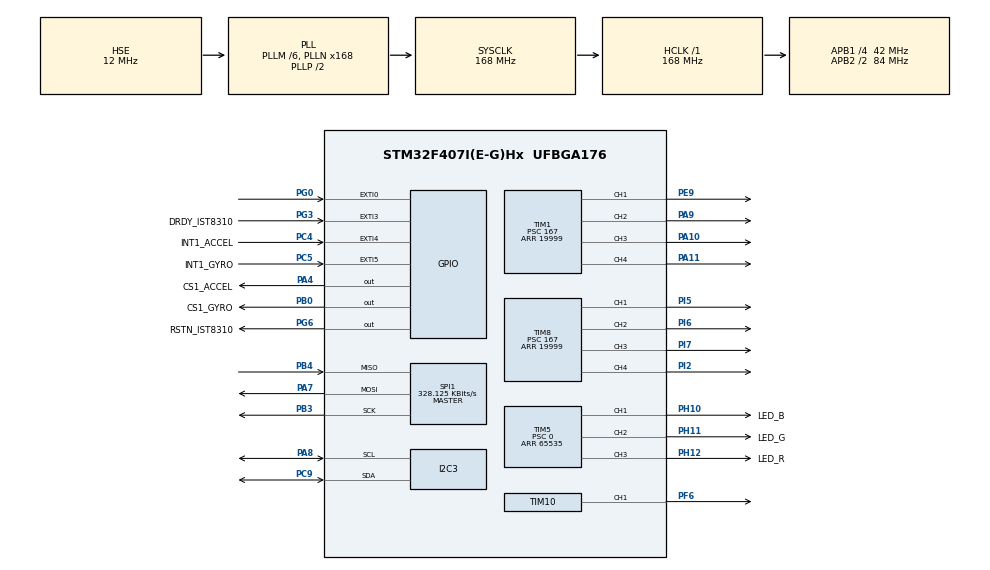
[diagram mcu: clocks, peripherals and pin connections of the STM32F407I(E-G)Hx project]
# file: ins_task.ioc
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Dma.Request0=SPI1_RX
Dma.Request1=SPI1_TX
Dma.SPI1_RX.0.Direction=DMA_PERIPH_TO_MEMORY
Dma.SPI1_RX.0.FIFOMode=DMA_FIFOMODE_DISABLE
Dma.SPI1_RX.0.Instance=DMA2_Stream2
Dma.SPI1_RX.0.MemDataAlignment=DMA_MDATAALIGN_BYTE
Dma.SPI1_RX.0.MemInc=DMA_MINC_ENABLE
Dma.SPI1_RX.0.Mode=DMA_NORMAL
Dma.SPI1_RX.0.PeriphDataAlignment=DMA_PDATAALIGN_BYTE
Dma.SPI1_RX.0.PeriphInc=DMA_PINC_DISABLE
Dma.SPI1_RX.0.Priority=DMA_PRIORITY_VERY_HIGH
Dma.SPI1_TX.1.Direction=DMA_MEMORY_TO_PERIPH
Dma.SPI1_TX.1.FIFOMode=DMA_FIFOMODE_DISABLE
Dma.SPI1_TX.1.Instance=DMA2_Stream3
Dma.SPI1_TX.1.MemDataAlignment=DMA_MDATAALIGN_BYTE
Dma.SPI1_TX.1.MemInc=DMA_MINC_ENABLE
Dma.SPI1_TX.1.Mode=DMA_NORMAL
Dma.SPI1_TX.1.PeriphDataAlignment=DMA_PDATAALIGN_BYTE
Dma.SPI1_TX.1.PeriphInc=DMA_PINC_DISABLE
Dma.SPI1_TX.1.Priority=DMA_PRIORITY_HIGH
FREERTOS.INCLUDE_eTaskGetState=1
FREERTOS.INCLUDE_pcTaskGetTaskName=1
FREERTOS.INCLUDE_uxTaskGetStackHighWaterMark=1
FREERTOS.INCLUDE_vTaskCleanUpResources=1
FREERTOS.INCLUDE_vTaskDelayUntil=1
FREERTOS.INCLUDE_xEventGroupSetBitFromISR=1
FREERTOS.INCLUDE_xQueueGetMutexHolder=1
FREERTOS.INCLUDE_xSemaphoreGetMutexHolder=1
FREERTOS.INCLUDE_xTaskAbortDelay=1
FREERTOS.INCLUDE_xTaskGetCurrentTaskHandle=1
FREERTOS.INCLUDE_xTaskGetHandle=1
FREERTOS.INCLUDE_xTimerPendFunctionCall=1
FREERTOS.Tasks01=test,0,128,test_task,As weak,NULL,Dynamic,NULL,NULL;serve_task,-3,128,serve_task_,As weak,NULL,Dynamic,NULL,NULL
FREERTOS.configTOTAL_HEAP_SIZE=24576
I2C3.I2C_Mode=I2C_Fast
Mcu.Family=STM32F4
Mcu.Name=STM32F407I(E-G)Hx
Mcu.Package=UFBGA176
NVIC.DMA2_Stream2_IRQn=true\:5\:0\:true\:false\:false\:true\:false\:true\:true
NVIC.DMA2_Stream3_IRQn=true\:5\:0\:true\:false\:false\:true\:false\:true\:true
NVIC.EXTI0_IRQn=true\:6\:0\:true\:false\:true\:true\:true\:true\:true
NVIC.EXTI3_IRQn=true\:5\:0\:true\:false\:true\:true\:true\:true\:true
NVIC.EXTI4_IRQn=true\:5\:0\:true\:false\:true\:true\:true\:true\:true
NVIC.EXTI9_5_IRQn=true\:5\:0\:true\:false\:true\:true\:true\:true\:true
NVIC.PriorityGroup=NVIC_PRIORITYGROUP_4
PA10.Signal=S_TIM1_CH3
PA11.Signal=S_TIM1_CH4
PA13.Mode=Serial_Wire
PA13.Signal=SYS_JTMS-SWDIO
PA14.Mode=Serial_Wire
PA14.Signal=SYS_JTCK-SWCLK
PA4.GPIO_Label=CS1_ACCEL
PA4.GPIO_PuPd=GPIO_PULLUP
PA4.GPIO_Speed=GPIO_SPEED_FREQ_HIGH
PA4.PinState=GPIO_PIN_SET
PA4.Signal=GPIO_Output
PA7.GPIO_PuPd=GPIO_PULLUP
PA7.Mode=Full_Duplex_Master
PA7.Signal=SPI1_MOSI
PA8.Mode=I2C
PA8.Signal=I2C3_SCL
PA9.Signal=S_TIM1_CH2
PB0.GPIO_Label=CS1_GYRO
PB0.GPIO_PuPd=GPIO_PULLUP
PB0.GPIO_Speed=GPIO_SPEED_FREQ_HIGH
PB0.PinState=GPIO_PIN_SET
PB0.Signal=GPIO_Output
PB3.GPIO_PuPd=GPIO_PULLUP
PB3.Mode=Full_Duplex_Master
PB3.Signal=SPI1_SCK
PB4.GPIO_PuPd=GPIO_PULLUP
PB4.Mode=Full_Duplex_Master
PB4.Signal=SPI1_MISO
PC4.GPIO_Label=INT1_ACCEL
PC4.GPIO_ModeDefaultEXTI=GPIO_MODE_IT_FALLING
PC4.GPIO_PuPd=GPIO_PULLUP
PC4.Signal=GPXTI4
PC5.GPIO_Label=INT1_GYRO
PC5.GPIO_ModeDefaultEXTI=GPIO_MODE_IT_FALLING
PC5.GPIO_PuPd=GPIO_PULLUP
PC5.Signal=GPXTI5
PC9.Mode=I2C
PC9.Signal=I2C3_SDA
PE9.Signal=S_TIM1_CH1
PF6.GPIO_PuPd=GPIO_PULLUP
PF6.GPIO_Speed=GPIO_SPEED_FREQ_HIGH
PF6.Signal=S_TIM10_CH1
PG0.GPIO_ModeDefaultEXTI=GPIO_MODE_IT_FALLING
PG0.GPIO_PuPd=GPIO_PULLUP
PG0.Signal=GPXTI0
PG3.GPIO_Label=DRDY_IST8310
PG3.GPIO_ModeDefaultEXTI=GPIO_MODE_IT_FALLING
PG3.GPIO_PuPd=GPIO_PULLUP
PG3.Signal=GPXTI3
PG6.GPIO_Label=RSTN_IST8310
PG6.GPIO_PuPd=GPIO_PULLUP
PG6.GPIO_Speed=GPIO_SPEED_FREQ_MEDIUM
PG6.PinState=GPIO_PIN_SET
PG6.Signal=GPIO_Output
PH0-OSC_IN.Mode=HSE-External-Oscillator
PH0-OSC_IN.Signal=RCC_OSC_IN
PH1-OSC_OUT.Mode=HSE-External-Oscillator
PH1-OSC_OUT.Signal=RCC_OSC_OUT
PH10.GPIO_Label=LED_B
PH10.GPIO_PuPd=GPIO_PULLUP
PH10.GPIO_Speed=GPIO_SPEED_FREQ_HIGH
PH10.Signal=S_TIM5_CH1
PH11.GPIO_Label=LED_G
PH11.GPIO_PuPd=GPIO_PULLUP
PH11.GPIO_Speed=GPIO_SPEED_FREQ_HIGH
PH11.Signal=S_TIM5_CH2
PH12.GPIO_Label=LED_R
PH12.GPIO_PuPd=GPIO_PULLUP
PH12.GPIO_Speed=GPIO_SPEED_FREQ_HIGH
PH12.Signal=S_TIM5_CH3
PI2.Signal=S_TIM8_CH4
PI5.Signal=S_TIM8_CH1
PI6.Signal=S_TIM8_CH2
PI7.Signal=S_TIM8_CH3
ProjectManager.HeapSize=0x2000
ProjectManager.StackSize=0x2000
ProjectManager.TargetToolchain=MDK-ARM V5
RCC.48MHZClocksFreq_Value=48000000
RCC.AHBFreq_Value=168000000
RCC.APB1CLKDivider=RCC_HCLK_DIV4
RCC.APB1Freq_Value=42000000
RCC.APB1TimFreq_Value=84000000
RCC.APB2CLKDivider=RCC_HCLK_DIV2
RCC.APB2Freq_Value=84000000
RCC.APB2TimFreq_Value=168000000
RCC.CortexFreq_Value=168000000
RCC.HCLKFreq_Value=168000000
RCC.HSE_VALUE=12000000
RCC.HSI_VALUE=16000000
RCC.LSE_VALUE=32768
RCC.PLLM=6
RCC.PLLN=168
RCC.PLLQ=7
RCC.PLLSourceVirtual=RCC_PLLSOURCE_HSE
RCC.RCC_RTC_Clock_SourceVirtual=RCC_RTCCLKSOURCE_HSE_DIV30
RCC.RCC_RTC_Clock_Source_FROM_HSE=RCC_RTCCLKSOURCE_HSE_DIV30
RCC.SYSCLKFreq_VALUE=168000000
RCC.SYSCLKSource=RCC_SYSCLKSOURCE_PLLCLK
RCC.VCOOutputFreq_Value=336000000
SH.S_TIM10_CH1.0=TIM10_CH1,PWM Generation1 CH1
SH.S_TIM1_CH1.0=TIM1_CH1,Output Compare1 CH1
SH.S_TIM1_CH2.0=TIM1_CH2,Output Compare2 CH2
SH.S_TIM1_CH3.0=TIM1_CH3,Output Compare3 CH3
SH.S_TIM1_CH4.0=TIM1_CH4,Output Compare4 CH4
SH.S_TIM5_CH1.0=TIM5_CH1,PWM Generation1 CH1
SH.S_TIM5_CH2.0=TIM5_CH2,PWM Generation2 CH2
SH.S_TIM5_CH3.0=TIM5_CH3,PWM Generation3 CH3
SH.S_TIM8_CH1.0=TIM8_CH1,Output Compare1 CH1
SH.S_TIM8_CH2.0=TIM8_CH2,Output Compare2 CH2
SH.S_TIM8_CH3.0=TIM8_CH3,Output Compare3 CH3
SH.S_TIM8_CH4.0=TIM8_CH4,Output Compare4 CH4
SPI1.BaudRatePrescaler=SPI_BAUDRATEPRESCALER_256
SPI1.CLKPhase=SPI_PHASE_2EDGE
SPI1.CLKPolarity=SPI_POLARITY_HIGH
SPI1.CalculateBaudRate=328.125 KBits/s
SPI1.Direction=SPI_DIRECTION_2LINES
SPI1.Mode=SPI_MODE_MASTER
SPI1.VirtualType=VM_MASTER
TIM1.Channel-Output\ Compare1\ CH1=TIM_CHANNEL_1
TIM1.Channel-Output\ Compare2\ CH2=TIM_CHANNEL_2
TIM1.Channel-Output\ Compare3\ CH3=TIM_CHANNEL_3
TIM1.Channel-Output\ Compare4\ CH4=TIM_CHANNEL_4
TIM1.Period=19999
TIM1.Prescaler=167
TIM1.Pulse-Output\ Compare1\ CH1=2000
TIM1.Pulse-Output\ Compare2\ CH2=2000
TIM1.Pulse-Output\ Compare3\ CH3=2000
TIM1.Pulse-Output\ Compare4\ CH4=2000
TIM10.Channel=TIM_CHANNEL_1
TIM10.Period=4999
TIM5.Channel-PWM\ Generation1\ CH1=TIM_CHANNEL_1
TIM5.Channel-PWM\ Generation2\ CH2=TIM_CHANNEL_2
TIM5.Channel-PWM\ Generation3\ CH3=TIM_CHANNEL_3
TIM5.Period=65535
TIM5.Prescaler=0
TIM8.Channel-Output\ Compare1\ CH1=TIM_CHANNEL_1
TIM8.Channel-Output\ Compare2\ CH2=TIM_CHANNEL_2
TIM8.Channel-Output\ Compare3\ CH3=TIM_CHANNEL_3
TIM8.Channel-Output\ Compare4\ CH4=TIM_CHANNEL_4
TIM8.Period=19999
TIM8.Prescaler=167
TIM8.Pulse-Output\ Compare1\ CH1=2000
TIM8.Pulse-Output\ Compare2\ CH2=2000
TIM8.Pulse-Output\ Compare3\ CH3=2000
TIM8.Pulse-Output\ Compare4\ CH4=2000
VP_FREERTOS_VS_CMSIS_V1.Mode=CMSIS_V1
VP_TIM10_VS_ClockSourceINT.Mode=Enable_Timer
VP_TIM5_VS_ClockSourceINT.Mode=Internal
board=custom

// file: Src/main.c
/* USER CODE BEGIN Header */
/**
  ******************************************************************************
  * @file           : main.c
  * @brief          : Main program body
  ******************************************************************************
  * @attention
  *
  * <h2><center>&copy; Copyright (c) 2019 STMicroelectronics.
  * All rights reserved.</center></h2>
  *
  * This software component is licensed by ST under Ultimate Liberty license
  * SLA0044, the "License"; You may not use this file except in compliance with
  * the License. You may obtain a copy of the License at:
  *                             www.st.com/SLA0044
  *
  ******************************************************************************
  */
/* USER CODE END Header */

#include "main.h"
#include "cmsis_os.h"
#include "dma.h"
#include "i2c.h"
#include "spi.h"
#include "tim.h"
#include "gpio.h"

/* USER CODE BEGIN Includes */
#include "bsp_delay.h"
/* USER CODE END Includes */

void SystemClock_Config(void);
void MX_FREERTOS_Init(void);

int main(void)
{

  /* MCU Configuration--------------------------------------------------------*/

  /* Reset of all peripherals, Initializes the Flash interface and the Systick. */
  HAL_Init();

  /* Configure the system clock */
  SystemClock_Config();

  /* Initialize all configured peripherals */
  MX_GPIO_Init();
  MX_DMA_Init();
  MX_SPI1_Init();
  MX_TIM5_Init();
  MX_I2C3_Init();
  MX_TIM10_Init();
  MX_TIM1_Init();
  MX_TIM8_Init();
  /* USER CODE BEGIN 2 */
    delay_init();
		    HAL_TIM_Base_Start(&htim1);
    HAL_TIM_PWM_Start(&htim1, TIM_CHANNEL_1);
    HAL_TIM_PWM_Start(&htim1, TIM_CHANNEL_2);
    HAL_TIM_PWM_Start(&htim1, TIM_CHANNEL_3);
    HAL_TIM_PWM_Start(&htim1, TIM_CHANNEL_1);
    HAL_TIM_Base_Start(&htim8);
    HAL_TIM_PWM_Start(&htim8, TIM_CHANNEL_1);
    HAL_TIM_PWM_Start(&htim8, TIM_CHANNEL_2);
    HAL_TIM_PWM_Start(&htim8, TIM_CHANNEL_3);
  /* USER CODE END 2 */

  /* Call init function for freertos objects (in freertos.c) */
  MX_FREERTOS_Init();

  /* Start scheduler */
  osKernelStart();

  /* We should never get here as control is now taken by the scheduler */

  /* Infinite loop */
  while (1)
  {

  }
}

void SystemClock_Config(void)
{
  RCC_OscInitTypeDef RCC_OscInitStruct = {0};
  RCC_ClkInitTypeDef RCC_ClkInitStruct = {0};

  /** Configure the main internal regulator output voltage
  */
  __HAL_RCC_PWR_CLK_ENABLE();
  __HAL_PWR_VOLTAGESCALING_CONFIG(PWR_REGULATOR_VOLTAGE_SCALE1);
  /** Initializes the CPU, AHB and APB busses clocks
  */
  RCC_OscInitStruct.OscillatorType = RCC_OSCILLATORTYPE_HSE;
  RCC_OscInitStruct.HSEState = RCC_HSE_ON;
  RCC_OscInitStruct.PLL.PLLState = RCC_PLL_ON;
  RCC_OscInitStruct.PLL.PLLSource = RCC_PLLSOURCE_HSE;
  RCC_OscInitStruct.PLL.PLLM = 6;
  RCC_OscInitStruct.PLL.PLLN = 168;
  RCC_OscInitStruct.PLL.PLLP = RCC_PLLP_DIV2;
  RCC_OscInitStruct.PLL.PLLQ = 7;
  if (HAL_RCC_OscConfig(&RCC_OscInitStruct) != HAL_OK)
  {
    Error_Handler();
  }
  /** Initializes the CPU, AHB and APB busses clocks
  */
  RCC_ClkInitStruct.ClockType = RCC_CLOCKTYPE_HCLK|RCC_CLOCKTYPE_SYSCLK
                              |RCC_CLOCKTYPE_PCLK1|RCC_CLOCKTYPE_PCLK2;
  RCC_ClkInitStruct.SYSCLKSource = RCC_SYSCLKSOURCE_PLLCLK;
  RCC_ClkInitStruct.AHBCLKDivider = RCC_SYSCLK_DIV1;
  RCC_ClkInitStruct.APB1CLKDivider = RCC_HCLK_DIV4;
  RCC_ClkInitStruct.APB2CLKDivider = RCC_HCLK_DIV2;

  if (HAL_RCC_ClockConfig(&RCC_ClkInitStruct, FLASH_LATENCY_5) != HAL_OK)
  {
    Error_Handler();
  }
}

void Error_Handler(void)
{
}

/************************ (C) COPYRIGHT STMicroelectronics *****END OF FILE****/

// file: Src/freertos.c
/* USER CODE BEGIN Header */
/**
  ******************************************************************************
  * File Name          : freertos.c
  * Description        : Code for freertos applications
  ******************************************************************************
  * @attention
  *
  * <h2><center>&copy; Copyright (c) 2019 STMicroelectronics.
  * All rights reserved.</center></h2>
  *
  * This software component is licensed by ST under Ultimate Liberty license
  * SLA0044, the "License"; You may not use this file except in compliance with
  * the License. You may obtain a copy of the License at:
  *                             www.st.com/SLA0044
  *
  ******************************************************************************
  */
/* USER CODE END Header */

#include "FreeRTOS.h"
#include "task.h"
#include "main.h"
#include "cmsis_os.h"

/* USER CODE BEGIN Includes */

#include "INS_task.h"
#include "led_flow_task.h"

/* USER CODE END Includes */

/* USER CODE BEGIN PTD */

osThreadId imuTaskHandle;
osThreadId led_RGB_flow_handle;
/* USER CODE END PTD */

osThreadId testHandle;
osThreadId serve_taskHandle;

void test_task(void const * argument);
void serve_task_(void const * argument);

void MX_FREERTOS_Init(void); /* (MISRA C 2004 rule 8.1) */

/* GetIdleTaskMemory prototype (linked to static allocation support) */
void vApplicationGetIdleTaskMemory( StaticTask_t **ppxIdleTaskTCBBuffer, StackType_t **ppxIdleTaskStackBuffer, uint32_t *pulIdleTaskStackSize );

/* GetTimerTaskMemory prototype (linked to static allocation support) */
void vApplicationGetTimerTaskMemory( StaticTask_t **ppxTimerTaskTCBBuffer, StackType_t **ppxTimerTaskStackBuffer, uint32_t *pulTimerTaskStackSize );

/* USER CODE BEGIN GET_IDLE_TASK_MEMORY */
static StaticTask_t xIdleTaskTCBBuffer;
static StackType_t xIdleStack[configMINIMAL_STACK_SIZE];

void vApplicationGetIdleTaskMemory( StaticTask_t **ppxIdleTaskTCBBuffer, StackType_t **ppxIdleTaskStackBuffer, uint32_t *pulIdleTaskStackSize )
{
  *ppxIdleTaskTCBBuffer = &xIdleTaskTCBBuffer;
  *ppxIdleTaskStackBuffer = &xIdleStack[0];
  *pulIdleTaskStackSize = configMINIMAL_STACK_SIZE;
  /* place for user code */
}
/* USER CODE END GET_IDLE_TASK_MEMORY */

/* USER CODE BEGIN GET_TIMER_TASK_MEMORY */
static StaticTask_t xTimerTaskTCBBuffer;
static StackType_t xTimerStack[configTIMER_TASK_STACK_DEPTH];

void vApplicationGetTimerTaskMemory( StaticTask_t **ppxTimerTaskTCBBuffer, StackType_t **ppxTimerTaskStackBuffer, uint32_t *pulTimerTaskStackSize )
{
  *ppxTimerTaskTCBBuffer = &xTimerTaskTCBBuffer;
  *ppxTimerTaskStackBuffer = &xTimerStack[0];
  *pulTimerTaskStackSize = configTIMER_TASK_STACK_DEPTH;
  /* place for user code */
}
/* USER CODE END GET_TIMER_TASK_MEMORY */

void MX_FREERTOS_Init(void) {

  /* Create the thread(s) */
  /* definition and creation of test */
  osThreadDef(test, test_task, osPriorityNormal, 0, 128);
  testHandle = osThreadCreate(osThread(test), NULL);

  /* definition and creation of serve_task */
  osThreadDef(serve_task, serve_task_, osPriorityIdle, 0, 128);
  serve_taskHandle = osThreadCreate(osThread(serve_task), NULL);

  /* USER CODE BEGIN RTOS_THREADS */
  /* add threads, ... */
    osThreadDef(imuTask, INS_task, osPriorityRealtime, 0, 1024);
    imuTaskHandle = osThreadCreate(osThread(imuTask), NULL);

    osThreadDef(led, led_RGB_flow_task, osPriorityNormal, 0, 256);
    led_RGB_flow_handle = osThreadCreate(osThread(led), NULL);
  /* USER CODE END RTOS_THREADS */

}

__weak void test_task(void const * argument)
{

  for(;;)
  {
    osDelay(1);
  }
}

__weak void serve_task_(void const * argument)
{
  for(;;)
  {
    osDelay(1);
  }
}

/************************ (C) COPYRIGHT STMicroelectronics *****END OF FILE****/
